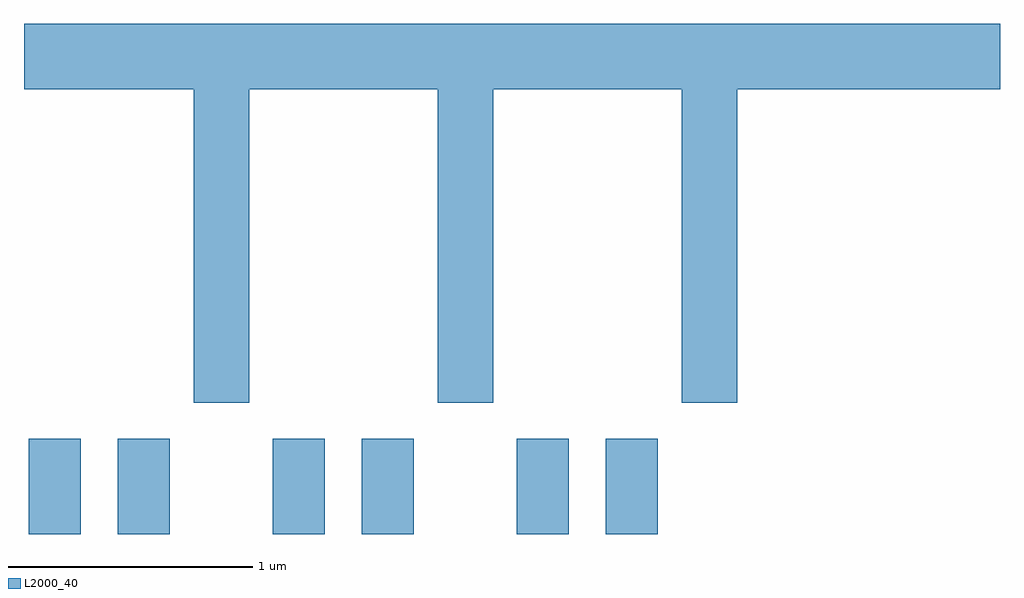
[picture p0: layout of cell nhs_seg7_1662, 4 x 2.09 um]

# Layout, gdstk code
import gdstk
lib = gdstk.Library(unit=1e-6, precision=1e-09)
def R(c, l, rs):  # rectangles x0, y0, x1, y1
    for r in rs: c.add(gdstk.rectangle(r[:2], r[2:], *l))
def P(c, l, *ps):  # polygons
    for p in ps: c.add(gdstk.Polygon(p, *l))
L2000_40 = (2000, 40)

nhs_seg7_1662 = lib.new_cell('nhs_seg7_1662')
R(nhs_seg7_1662, L2000_40, [(235.631,1730.252,235.844,1730.644), (235.996,1730.252,236.209,1730.644), (236.631,1730.252,236.844,1730.644), (236.996,1730.252,237.209,1730.644), (237.631,1730.252,237.844,1730.644), (237.996,1730.252,238.209,1730.644)])
P(nhs_seg7_1662, L2000_40, [(236.534,1732.076),(237.306,1732.076),(237.306,1730.791),(237.534,1730.791),(237.534,1732.076),(238.306,1732.076),(238.306,1730.791),(238.534,1730.791),(238.534,1732.076),(239.611,1732.076),(239.611,1732.344),(235.611,1732.344),(235.611,1732.076),(236.306,1732.076),(236.306,1730.791),(236.534,1730.791)])

lib.write_gds('nhs_seg7_1662.gds')
